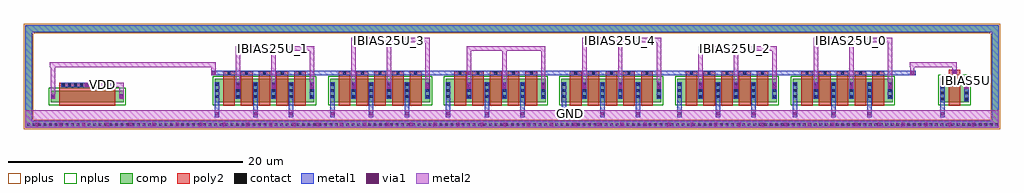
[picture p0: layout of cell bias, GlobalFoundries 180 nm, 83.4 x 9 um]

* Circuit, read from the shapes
.subckt bias GND IBIAS25U_0 IBIAS25U_1 IBIAS25U_2 IBIAS25U_3 IBIAS25U_4 IBIAS5U VDD
XM1 VDD VDD n1 GND nfet_03v3 w=1u l=4.8u
XM2 IBIAS25U_1 n1 GND GND nfet_03v3 w=2u l=1u m=5
XM3 IBIAS25U_3 n1 GND GND nfet_03v3 w=2u l=1u m=5
XM4 n1 n1 GND GND nfet_03v3 w=2u l=1u m=5
XM5 IBIAS25U_4 n1 GND GND nfet_03v3 w=2u l=1u m=5
XM6 IBIAS25U_2 n1 GND GND nfet_03v3 w=2u l=1u m=5
XM7 IBIAS25U_0 n1 GND GND nfet_03v3 w=2u l=1u m=5
XM8 IBIAS5U n1 GND GND nfet_03v3 w=2.1u l=1u
.ends

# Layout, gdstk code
import gdstk
lib = gdstk.Library(unit=1e-6, precision=1e-09)
def R(c, l, rs):  # rectangles x0, y0, x1, y1
    for r in rs: c.add(gdstk.rectangle(r[:2], r[2:], *l))
def A(c, l, x, y, w, h, nx, ny, dx, dy):  # array of equal rectangles
    R(c, l, [(x+i*dx, y+j*dy, x+i*dx+w, y+j*dy+h) for i in range(nx) for j in range(ny)])
comp = (22, 0)
poly2 = (30, 0)
pplus = (31, 0)
nplus = (32, 0)
contact = (33, 0)
metal1 = (34, 0)
via1 = (35, 0)
metal2 = (36, 0)

nfet = lib.new_cell('nfet')
R(nfet, comp, [(-0.42,0,0,2), (0,0,7.7,2), (7.7,0,8.12,2)])
A(nfet, poly2, 0.31, -0.3, 1, 2.6, 5, 1, 1.52, 0)
A(nfet, poly2, 0.31, 2.3, 1, 0.36, 5, 1, 1.52, 0)
R(nfet, nplus, [(-0.59,-0.24,8.29,2.24)])
A(nfet, contact, -0.32, 0.38, 0.22, 0.22, 1, 3, 0, 0.51)
A(nfet, contact, 1.46, 0.38, 0.22, 0.22, 4, 3, 1.52, 0.51)
A(nfet, contact, 7.8, 0.38, 0.22, 0.22, 1, 3, 0, 0.51)
A(nfet, contact, 0.7, 2.37, 0.22, 0.22, 5, 1, 1.52, 0)
A(nfet, metal1, 1.38, 0.3, 0.38, 1.4, 4, 1, 1.52, 0)
A(nfet, metal1, 0.62, 2.289, 0.38, 0.382, 5, 1, 1.52, 0)
R(nfet, metal1, [(-0.4,0.3,-0.02,1.7), (7.72,0.3,8.1,1.7)])

nfet_1 = lib.new_cell('nfet$1')
R(nfet_1, comp, [(-0.42,0,0,1), (0,0,5.42,1), (5.42,0,5.84,1)])
R(nfet_1, poly2, [(0.31,-0.3,5.11,1.3), (0.31,1.3,5.11,1.66)])
R(nfet_1, nplus, [(-0.59,-0.24,6.01,1.24)])
A(nfet_1, contact, 0.56, 1.37, 0.22, 0.22, 9, 1, 0.51, 0)
R(nfet_1, contact, [(-0.32,0.39,-0.1,0.61), (5.52,0.39,5.74,0.61)])
R(nfet_1, metal1, [(-0.4,0.309,-0.02,0.691), (5.44,0.309,5.82,0.691), (0.48,1.29,4.94,1.67)])

nfet_2 = lib.new_cell('nfet$2')
R(nfet_2, comp, [(-0.42,0,0,2.1), (0,0,1.62,2.1), (1.62,0,2.04,2.1)])
R(nfet_2, poly2, [(0.31,-0.3,1.31,2.4), (0.31,2.4,1.31,2.76)])
R(nfet_2, nplus, [(-0.59,-0.24,2.21,2.34)])
A(nfet_2, contact, -0.32, 0.175, 0.22, 0.22, 1, 4, 0, 0.51)
A(nfet_2, contact, 1.72, 0.175, 0.22, 0.22, 1, 4, 0, 0.51)
R(nfet_2, contact, [(0.7,2.47,0.92,2.69)])
R(nfet_2, metal1, [(-0.4,0.095,-0.02,2.005), (1.64,0.095,2.02,2.005), (0.62,2.389,1,2.771)])

bias = lib.new_cell('bias')
R(bias, comp, [(-16.6,-2.2,66.6,-1.6), (-16.6,-2.2,-16,6.6), (66,-2.2,66.6,6.6), (-16.6,6,66.6,6.6)])
R(bias, pplus, [(-16.7,-2.3,66.7,-1.5), (-16.7,-2.3,-15.9,6.7), (65.9,-2.3,66.7,6.7), (-16.7,5.9,66.7,6.7)])
A(bias, contact, -16.41, -2.01, 0.22, 0.22, 177, 1, 0.47, 0)
A(bias, metal1, -15.79, -2.09, 0.38, 0.38, 41, 1, 2, 0)
R(bias, metal1, [(-16.6,-2.2,66.6,-1.6), (-16.6,-2.2,-16,6.6), (66,-2.2,66.6,6.6), (-0.4,-1.3,-0.02,1.7), (2.9,-1.3,3.28,1.7), (5.94,-1.3,6.32,1.7), (9.48,-1.3,9.86,1.7), (12.78,-1.3,13.16,1.7), (15.82,-1.3,16.2,1.7), (19.36,-1.3,19.74,1.7), (22.66,-1.3,23.04,1.7), (25.7,-1.3,26.08,1.7), (29.24,-1.3,29.62,1.7), (32.54,-1.3,32.92,1.7), (35.58,-1.3,35.96,1.7), (39.12,-1.3,39.5,1.7), (42.42,-1.3,42.8,1.7), (45.46,-1.3,45.84,1.7), (49,-1.3,49.38,1.7), (52.3,-1.3,52.68,1.7), (55.34,-1.3,55.72,1.7), (61.6,-1.3,61.98,2), (-0.4,-1.19,-0.02,-0.81), (2.9,-1.19,3.28,-0.81), (5.94,-1.19,6.32,-0.81), (9.48,-1.19,9.86,-0.81), (12.78,-1.19,13.16,-0.81), (15.82,-1.19,16.2,-0.81), (19.36,-1.19,19.74,-0.81), (22.66,-1.19,23.04,-0.81), (25.7,-1.19,26.08,-0.81), (29.24,-1.19,29.62,-0.81), (32.54,-1.19,32.92,-0.81), (35.58,-1.19,35.96,-0.81), (39.12,-1.19,39.5,-0.81), (42.42,-1.19,42.8,-0.81), (45.46,-1.19,45.84,-0.81), (49,-1.19,49.38,-0.81), (52.3,-1.19,52.68,-0.81), (55.34,-1.19,55.72,-0.81), (61.6,-1.19,61.98,-0.81), (-14.4,0.31,-14.02,0.69), (-8.56,0.31,-8.18,0.69), (1.38,1.16,1.76,1.54), (4.42,1.16,4.8,1.54), (7.72,1.16,8.1,1.54), (11.26,1.16,11.64,1.54), (14.3,1.16,14.68,1.54), (17.6,1.16,17.98,1.54), (21.14,1.16,21.52,1.54), (24.18,1.16,24.56,1.54), (27.48,1.16,27.86,1.54), (31.02,1.16,31.4,1.54), (34.06,1.16,34.44,1.54), (37.36,1.16,37.74,1.54), (40.9,1.16,41.28,1.54), (43.94,1.16,44.32,1.54), (47.24,1.16,47.62,1.54), (50.78,1.16,51.16,1.54), (53.82,1.16,54.2,1.54), (57.12,1.16,57.5,1.54), (63.64,1.16,64.02,1.54), (-11.49,1.29,-11.11,1.67), (-0.69,2.29,-0.31,2.67), (-0.6,2.29,59.5,2.67), (21.14,2.29,21.52,2.67), (59.01,2.29,59.39,2.67), (62.62,2.39,63,2.77), (-16.6,6,66.6,6.6)])
A(bias, via1, -15.73, -2.03, 0.26, 0.26, 41, 1, 2, 0)
R(bias, via1, [(-0.34,-1.13,-0.08,-0.87), (2.96,-1.13,3.22,-0.87), (6,-1.13,6.26,-0.87), (9.54,-1.13,9.8,-0.87), (12.84,-1.13,13.1,-0.87), (15.88,-1.13,16.14,-0.87), (19.42,-1.13,19.68,-0.87), (22.72,-1.13,22.98,-0.87), (25.76,-1.13,26.02,-0.87), (29.3,-1.13,29.56,-0.87), (32.6,-1.13,32.86,-0.87), (35.64,-1.13,35.9,-0.87), (39.18,-1.13,39.44,-0.87), (42.48,-1.13,42.74,-0.87), (45.52,-1.13,45.78,-0.87), (49.06,-1.13,49.32,-0.87), (52.36,-1.13,52.62,-0.87), (55.4,-1.13,55.66,-0.87), (61.66,-1.13,61.92,-0.87), (-14.34,0.37,-14.08,0.63), (-8.5,0.37,-8.24,0.63), (1.44,1.22,1.7,1.48), (4.48,1.22,4.74,1.48), (7.78,1.22,8.04,1.48), (11.32,1.22,11.58,1.48), (14.36,1.22,14.62,1.48), (17.66,1.22,17.92,1.48), (21.2,1.22,21.46,1.48), (24.24,1.22,24.5,1.48), (27.54,1.22,27.8,1.48), (31.08,1.22,31.34,1.48), (34.12,1.22,34.38,1.48), (37.42,1.22,37.68,1.48), (40.96,1.22,41.22,1.48), (44,1.22,44.26,1.48), (47.3,1.22,47.56,1.48), (50.84,1.22,51.1,1.48), (53.88,1.22,54.14,1.48), (57.18,1.22,57.44,1.48), (63.7,1.22,63.96,1.48), (-11.43,1.35,-11.17,1.61), (-0.63,2.35,-0.37,2.61), (21.2,2.35,21.46,2.61), (59.07,2.35,59.33,2.61), (62.68,2.45,62.94,2.71)])
A(bias, metal2, -15.79, -2.09, 0.38, 0.38, 41, 1, 2, 0)
A(bias, metal2, 1.38, 4.41, 6.72, 0.38, 3, 1, 19.76, 0)
A(bias, metal2, 11.26, 5.11, 6.72, 0.38, 3, 1, 19.76, 0)
R(bias, metal2, [(-16.6,-2.2,66.6,-1.6), (-16.6,-2.2,66.6,-0.7), (-15.5,-1.3,66.5,-0.7), (-0.4,-1.19,-0.02,-0.81), (2.9,-1.19,3.28,-0.81), (5.94,-1.19,6.32,-0.81), (9.48,-1.19,9.86,-0.81), (12.78,-1.19,13.16,-0.81), (15.82,-1.19,16.2,-0.81), (19.36,-1.19,19.74,-0.81), (22.66,-1.19,23.04,-0.81), (25.7,-1.19,26.08,-0.81), (29.24,-1.19,29.62,-0.81), (32.54,-1.19,32.92,-0.81), (35.58,-1.19,35.96,-0.81), (39.12,-1.19,39.5,-0.81), (42.42,-1.19,42.8,-0.81), (45.46,-1.19,45.84,-0.81), (49,-1.19,49.38,-0.81), (52.3,-1.19,52.68,-0.81), (55.34,-1.19,55.72,-0.81), (61.6,-1.19,61.98,-0.81), (-14.4,0.31,-14.02,0.69), (-8.56,0.31,-8.18,0.69), (-14.4,0.5,-14.02,3.4), (-8.56,0.5,-8.18,1.67), (1.38,1.16,1.76,1.54), (4.42,1.16,4.8,1.54), (7.72,1.16,8.1,1.54), (11.26,1.16,11.64,1.54), (14.3,1.16,14.68,1.54), (17.6,1.16,17.98,1.54), (21.14,1.16,21.52,1.54), (24.18,1.16,24.56,1.54), (27.48,1.16,27.86,1.54), (31.02,1.16,31.4,1.54), (34.06,1.16,34.44,1.54), (37.36,1.16,37.74,1.54), (40.9,1.16,41.28,1.54), (43.94,1.16,44.32,1.54), (47.24,1.16,47.62,1.54), (50.78,1.16,51.16,1.54), (53.82,1.16,54.2,1.54), (57.12,1.16,57.5,1.54), (63.64,1.16,64.02,1.54), (-11.49,1.29,-11.11,1.67), (-11.49,1.29,-8.18,1.67), (1.38,1.35,1.76,4.6), (4.42,1.35,4.8,4.6), (7.72,1.35,8.1,4.6), (11.26,1.35,11.64,5.3), (14.3,1.35,14.68,5.3), (17.6,1.35,17.98,5.3), (21.14,1.35,21.52,4.6), (24.18,1.35,24.56,4.6), (27.48,1.35,27.86,4.6), (31.02,1.35,31.4,5.3), (34.06,1.35,34.44,5.3), (37.36,1.35,37.74,5.3), (40.9,1.35,41.28,4.6), (43.94,1.35,44.32,4.6), (47.24,1.35,47.62,4.6), (50.78,1.35,51.16,5.3), (53.82,1.35,54.2,5.3), (57.12,1.35,57.5,5.3), (63.64,1.35,64.02,2.2), (-0.69,2.29,-0.31,2.67), (21.14,2.29,21.52,2.67), (59.01,2.29,59.39,2.67), (62.62,2.39,63,2.77), (-0.69,2.48,-0.31,3.4), (21.14,2.48,21.52,4.6), (59.01,2.48,59.39,3.4), (62.62,2.58,63,3.4), (-14.5,3,-0.3,3.4), (59,3,63,3.4)])
bias.add(gdstk.Reference(nfet, (0,0)))
bias.add(gdstk.Reference(nfet, (9.88,0)))
bias.add(gdstk.Reference(nfet, (19.76,0)))
bias.add(gdstk.Reference(nfet, (29.64,0)))
bias.add(gdstk.Reference(nfet, (39.52,0)))
bias.add(gdstk.Reference(nfet, (49.4,0)))
bias.add(gdstk.Reference(nfet_1, (-14,0)))
bias.add(gdstk.Reference(nfet_2, (62,0)))
bias.add(gdstk.Label('IBIAS25U_1', (4.61,4.6), layer=36, texttype=10))
bias.add(gdstk.Label('IBIAS25U_3', (14.49,5.3), layer=36, texttype=10))
bias.add(gdstk.Label('IBIAS25U_4', (34.25,5.3), layer=36, texttype=10))
bias.add(gdstk.Label('IBIAS25U_2', (44.13,4.6), layer=36, texttype=10))
bias.add(gdstk.Label('IBIAS25U_0', (54.01,5.3), layer=36, texttype=10))
bias.add(gdstk.Label('VDD', (-10,1.48), layer=36, texttype=10))
bias.add(gdstk.Label('IBIAS5U', (63.83,1.9), layer=36, texttype=10))
bias.add(gdstk.Label('GND', (30,-1), layer=36, texttype=10))
bias.add(gdstk.Label('GND', (30,-1), layer=36, texttype=10))

lib.write_gds('bias.gds')
